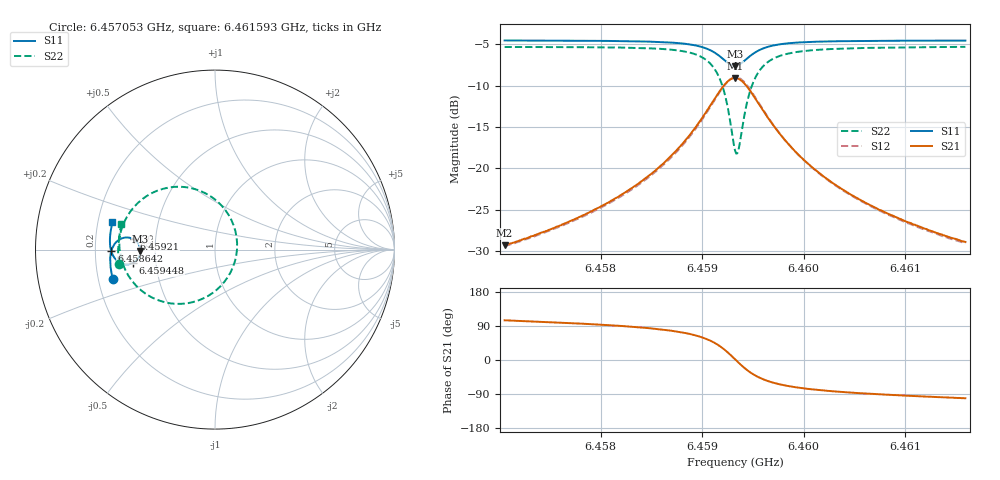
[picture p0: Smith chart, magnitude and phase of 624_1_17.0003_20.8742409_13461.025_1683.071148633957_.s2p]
#  HZ  S  RI  R  50.00
! Rohde & Schwarz Vector Network Analyzer
! Rohde-Schwarz,ZNB20-2Port,1311601062101988,3.16
! Created: UTC 3/20/2024, 11:20:03 PM
! freq[Hz]  re:S11  im:S11  re:S21  im:S21  re:S12  im:S12  re:S22  im:S22
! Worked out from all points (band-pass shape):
!   401 points, 6.457053 GHz to 6.461593 GHz, reference 50 ohm
!   highest |S21| = -9.09 dB at 6.459323 GHz (marker M1); lowest = -29.3 dB at 6.457053 GHz (marker M2)
!   |S21| within 3 dB of the highest: 6.459097 GHz to 6.45955 GHz (453.3 kHz wide, 0.00702 % of centre)
!   lowest |S11| = -7.6 dB at 6.459323 GHz (marker M3), VSWR 2.42, Z = 20.6 - j0.375 ohm
!   |S11| at or under -10 dB: nowhere
!   |S22| runs from -18.2 to -5.3 dB; largest |S21 - S12| = 0.014
!   S11 on the Smith chart (normalised r, x): 6.457053 GHz: 0.26, -0.13; 6.458642 GHz: 0.27, -0.01; 6.45921 GHz: 0.38, +0.05; 6.459448 GHz: 0.37, -0.07; 6.461593 GHz: 0.26, +0.12
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6.4570532e9  -0.5684 -0.1664  -0.00869 0.0331  -0.00689 0.033  -0.535 -0.0776
6.4578136e9  -0.5815 -0.0996  -0.00531 0.0512  -0.00258 0.0506  -0.5389 0.0126
6.4581995e9  -0.5841 -0.0608  0.000172 0.0689  0.00349 0.0674  -0.5313 0.0735
6.4585741e9  -0.5799 -0.0161  0.0153 0.1  0.0193 0.0972  -0.5034 0.1579
6.4586422e9  -0.5774 -0.00659  0.0207 0.1085  0.0248 0.1052  -0.493 0.1781
6.4588351e9  -0.5646 0.0238  0.0478 0.1396  0.0519 0.1346  -0.4419 0.2474
6.4589826e9  -0.5414 0.0502  0.0938 0.1703  0.097 0.1635  -0.3568 0.312
6.4591188e9  -0.497 0.0675  0.1823 0.1866  0.1832 0.1792  -0.1948 0.35
6.4592096e9  -0.4519 0.0569  0.2734 0.1546  0.2736 0.1487  -0.026 0.298
6.4592777e9  -0.4224 0.0241  0.3347 0.0814  0.3369 0.076  0.091 0.1653
6.4593231e9  -0.4155 -0.00751  0.351 0.0123  0.3549 0.00523  0.1231 0.0357
6.4593572e9  -0.4195 -0.0317  0.3448 -0.0412  0.3489 -0.0504  0.1109 -0.0657
6.4594026e9  -0.4354 -0.0581  0.3155 -0.1021  0.3178 -0.1142  0.0511 -0.1809
6.459448e9  -0.4579 -0.0746  0.2725 -0.1435  0.2717 -0.1572  -0.0362 -0.2568
6.4595388e9  -0.502 -0.0816  0.1858 -0.1745  0.1795 -0.1864  -0.209 -0.3023
6.4596069e9  -0.5265 -0.0743  0.1368 -0.1722  0.1285 -0.1813  -0.3042 -0.2861
6.4596863e9  -0.5464 -0.0609  0.0965 -0.1598  0.0879 -0.1661  -0.3793 -0.2507
6.4598452e9  -0.5682 -0.0331  0.0513 -0.131  0.0434 -0.1338  -0.4604 -0.1767
6.4600835e9  -0.5809 0.00254  0.0219 -0.0988  0.016 -0.0994  -0.5084 -0.0926
6.460424e9  -0.5854 0.0434  0.00593 -0.0714  0.00178 -0.071  -0.5297 -0.0127
6.460844e9  -0.5834 0.0858  -0.00171 -0.0526  -0.0047 -0.0517  -0.5335 0.0556
6.461593e9  -0.5712 0.1523  -0.00676 -0.0352  -0.00849 -0.0341  -0.5219 0.1452
